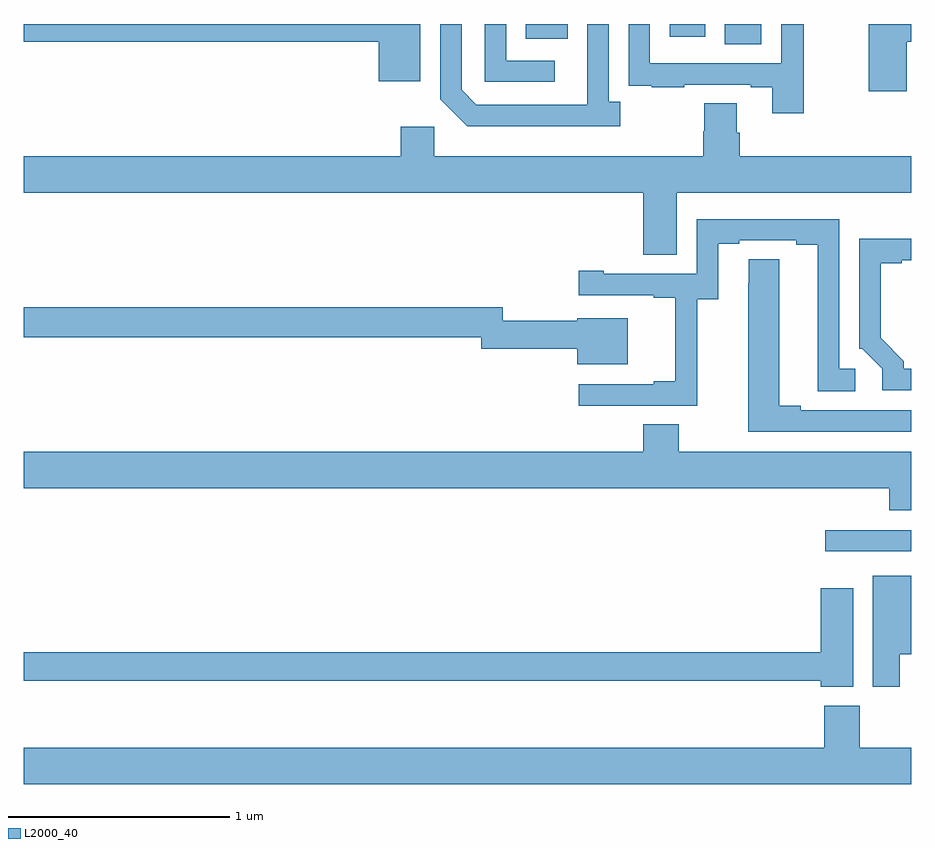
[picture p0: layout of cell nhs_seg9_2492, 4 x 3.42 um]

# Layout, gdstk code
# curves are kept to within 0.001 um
import gdstk
lib = gdstk.Library(unit=1e-6, precision=1e-09)
def R(c, l, rs):  # rectangles x0, y0, x1, y1
    for r in rs: c.add(gdstk.rectangle(r[:2], r[2:], *l))
def P(c, l, *ps):  # polygons
    for p in ps: c.add(gdstk.Polygon(p, *l))
L2000_40 = (2000, 40)

nhs_seg9_2492 = lib.new_cell('nhs_seg9_2492')
R(nhs_seg9_2492, L2000_40, [(256.611,1208.124,257,1208.22), (256.16,1210.408,256.324,1210.5), (255.263,1210.433,255.451,1210.5), (255.911,1210.443,256.072,1210.5)])
P(nhs_seg9_2492, L2000_40, [(254.788,1210.498),(254.746,1210.498),(254.746,1210.5),(253,1210.5),(253,1210.42),(254.6,1210.42),(254.6,1210.241),(254.788,1210.241)],
  [(255.394,1210.335),(255.174,1210.335),(255.174,1210.5),(255.078,1210.5),(255.078,1210.239),(255.394,1210.239)],
  [(256.979,1210.42),(257,1210.42),(257,1210.5),(256.808,1210.5),(256.808,1210.197),(256.979,1210.197)],
  [(256.514,1210.5),(256.413,1210.5),(256.413,1210.323),(255.822,1210.323),(255.822,1210.5),(255.726,1210.5),(255.726,1210.33),(255.727,1210.33),(255.727,1210.221),(255.829,1210.221),(255.829,1210.215),(255.977,1210.215),(255.977,1210.227),(256.277,1210.227),(256.277,1210.215),(256.373,1210.215),(256.373,1210.098),(256.514,1210.098)],
  [(255.688,1210.15),(255.636,1210.15),(255.636,1210.5),(255.54,1210.5),(255.539,1210.137),(255.039,1210.137),(254.973,1210.203),(254.973,1210.5),(254.877,1210.5),(254.877,1210.161),(254.998,1210.04),(255.688,1210.04)],
  [(257,1209.904),(256.226,1209.904),(256.226,1210.01),(256.213,1210.01),(256.213,1210.142),(256.066,1210.142),(256.066,1210.017),(256.061,1210.017),(256.061,1209.904),(254.85,1209.904),(254.85,1210.036),(254.699,1210.036),(254.699,1209.904),(253,1209.904),(253,1209.74),(255.791,1209.74),(255.791,1209.46),(255.943,1209.46),(255.943,1209.74),(257,1209.74)],
  [(256.035,1209.259),(256.129,1209.259),(256.129,1209.51),(256.225,1209.51),(256.225,1209.525),(256.481,1209.525),(256.481,1209.505),(256.577,1209.505),(256.577,1208.845),(256.747,1208.845),(256.747,1208.946),(256.674,1208.946),(256.674,1209.621),(256.032,1209.621),(256.032,1209.375),(255.613,1209.375),(255.613,1209.388),(255.501,1209.388),(255.501,1209.279),(255.839,1209.279),(255.839,1209.267),(255.935,1209.267),(255.935,1208.89),(255.839,1208.89),(255.839,1208.877),(255.501,1208.877),(255.501,1208.781),(256.035,1208.781)],
  [(257,1208.946),(256.966,1208.946),(256.966,1208.981),(256.861,1209.086),(256.861,1209.423),(256.957,1209.423),(256.957,1209.435),(257,1209.435),(257,1209.533),(256.764,1209.533),(256.764,1209.036),(256.779,1209.036),(256.869,1208.946),(256.869,1208.85),(257,1208.85)],
  [(257,1208.76),(256.501,1208.76),(256.501,1208.78),(256.405,1208.78),(256.405,1209.44),(256.266,1209.44),(256.266,1209.332),(256.265,1209.332),(256.265,1208.664),(257,1208.664)],
  [(255.721,1209.175),(255.494,1209.175),(255.494,1209.164),(255.159,1209.164),(255.159,1209.224),(253,1209.224),(253,1209.088),(255.063,1209.088),(255.063,1209.036),(255.494,1209.036),(255.494,1208.966),(255.721,1208.966)],
  [(257,1208.572),(255.951,1208.572),(255.951,1208.696),(255.791,1208.696),(255.791,1208.572),(253,1208.572),(253,1208.408),(256.901,1208.408),(256.901,1208.309),(257,1208.309)],
  [(256.948,1207.661),(257,1207.661),(257,1208.014),(256.826,1208.014),(256.826,1207.515),(256.948,1207.515)],
  [(256.738,1207.957),(256.592,1207.957),(256.592,1207.67),(253,1207.67),(253,1207.542),(256.592,1207.542),(256.592,1207.514),(256.738,1207.514)],
  [(257,1207.24),(256.767,1207.24),(256.767,1207.429),(256.607,1207.429),(256.607,1207.24),(253,1207.24),(253,1207.076),(257,1207.076)])

lib.write_gds('nhs_seg9_2492.gds')
